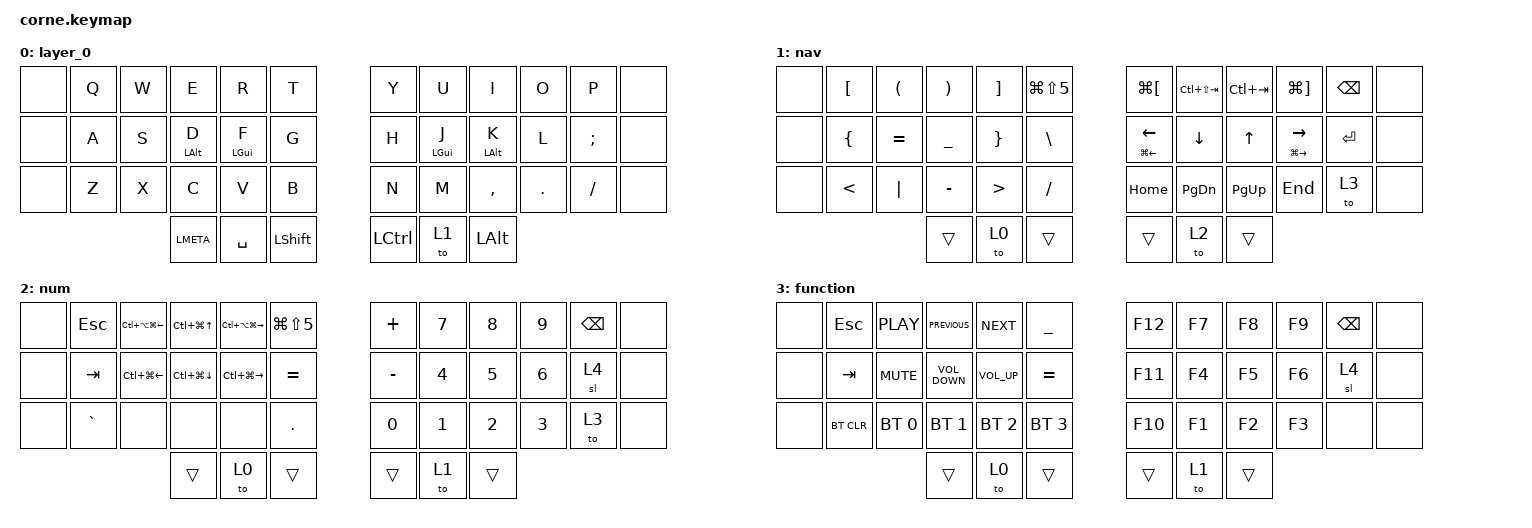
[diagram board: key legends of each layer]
/*
 * Copyright (c) 2020 The ZMK Contributors
 *
 * SPDX-License-Identifier: MIT
 */

#include <behaviors.dtsi>
#include <dt-bindings/zmk/bt.h>
#include <dt-bindings/zmk/keys.h>

/ {
    behaviors {
        hml: hml {
            compatible = "zmk,behavior-hold-tap";
            label = "HML";
            bindings = <&kp>, <&kp>;

            #binding-cells = <2>;
            flavor = "tap-preferred";
            tapping-term-ms = <300>;
            quick-tap-ms = <175>;
            require-prior-idle-ms = <200>;
        };

        hmls: hmls {
            compatible = "zmk,behavior-hold-tap";
            label = "HMLS";
            bindings = <&kp>, <&kp>;

            #binding-cells = <2>;
            flavor = "balanced";
            tapping-term-ms = <250>;
            quick-tap-ms = <175>;
            hold-trigger-key-positions = <6 7 8 9 10 18 19 20 21 22 30 31 32 33 34>;
        };

        hmr: hmr {
            compatible = "zmk,behavior-hold-tap";
            label = "HMR";
            bindings = <&kp>, <&kp>;

            #binding-cells = <2>;
            flavor = "tap-preferred";
            tapping-term-ms = <300>;
            quick-tap-ms = <175>;
            require-prior-idle-ms = <200>;
        };

        hmrs: hmrs {
            compatible = "zmk,behavior-hold-tap";
            label = "HMRS";
            bindings = <&kp>, <&kp>;

            #binding-cells = <2>;
            flavor = "balanced";
            tapping-term-ms = <250>;
            quick-tap-ms = <175>;
            hold-trigger-key-positions = <1 2 3 4 5 13 14 15 16 17 25 26 27 28 29>;
        };

        function_layers: function_layers {
            compatible = "zmk,behavior-hold-tap";
            label = "FUNCTION_LAYERS";
            bindings = <&mo>, <&remove_previous_word>;

            #binding-cells = <2>;
            flavor = "balanced";
            tapping-term-ms = <200>;
            quick-tap-ms = <175>;
            hold-trigger-on-release;
            hold-trigger-key-positions = <0 1 2 3 4 5 6 7 8 9 10>;
        };

        bb: bb {
            compatible = "zmk,behavior-tap-dance";
            label = "BB";
            #binding-cells = <0>;
            bindings = <&kp B>, <&kp B>, <&kp AT_SIGN>;
        };

        b_remove_previous_word: b_remove_previous_word {
            compatible = "zmk,behavior-tap-dance";
            label = "B_REMOVE_PREVIOUS_WORD";
            #binding-cells = <0>;
            bindings =
                <&kp BACKSPACE>,
                <&kp BACKSPACE>,
                <&b_remove_previous_word>;

            tapping-term-ms = <150>;
        };

        layers_tap: layers_tap {
            compatible = "zmk,behavior-hold-tap";
            label = "LAYERS_TAP";
            bindings = <&mo>, <&kp>;

            #binding-cells = <2>;
            flavor = "balanced";
            tapping-term-ms = <200>;
            quick-tap-ms = <175>;
            hold-trigger-on-release;
            hold-trigger-key-positions = <0 1 2 3 4 5 6 7 8 9 10 12 13 14 15 16 17 18 19 20 21 22>;
        };
    };

    combos {
        compatible = "zmk,combos";

        undo {
            bindings = <&kp LG(Z)>;
            key-positions = <25 26>;
        };

        copy {
            bindings = <&kp LG(C)>;
            key-positions = <26 27>;
        };

        paste {
            bindings = <&kp LG(V)>;
            key-positions = <27 28>;
        };

        cut {
            bindings = <&kp LG(X)>;
            key-positions = <26 28>;
        };

        backspace {
            bindings = <&kp BACKSPACE>;
            key-positions = <8 9>;
        };

        enter {
            bindings = <&kp ENTER>;
            key-positions = <21 22>;
        };

        esc {
            bindings = <&kp ESCAPE>;
            key-positions = <19 20>;
        };
    };

    macros {
        remove_previous_word: remove_previous_word {
            compatible = "zmk,behavior-macro";
            #binding-cells = <0>;
            bindings =
                <&macro_press>,
                <&kp LEFT_SHIFT &kp LEFT_ALT>,
                <&macro_tap>,
                <&kp LEFT_ARROW>,
                <&macro_release>,
                <&kp LEFT_SHIFT &kp LEFT_ALT>,
                <&macro_tap>,
                <&kp BACKSPACE>;

            label = "REMOVE_PREVIOUS_WORD";
        };
    };

    keymap {
        compatible = "zmk,keymap";

        layer_0 {
            // -----------------------------------------------------------------------------------------
            // |  TAB |  Q  |  W  |  E  |  R  |  T  |   |  Y  |  U   |  I  |  O  |  P  | BKSP |
            // | CTRL |  A  |  S  |  D  |  F  |  G  |   |  H  |  J   |  K  |  L  |  ;  |  '   |
            // | SHFT |  Z  |  X  |  C  |  V  |  B  |   |  N  |  M   |  ,  |  .  |  /  | ESC  |
            //                    | GUI | LWR | SPC |   | ENT | RSE  | ALT |

            bindings = <
&none  &kp Q  &kp W  &kp E            &kp R            &kp T             &kp Y      &kp U            &kp I            &kp O    &kp P     &none
&none  &kp A  &kp S  &hml LEFT_ALT D  &hml LEFT_GUI F  &kp G             &kp H      &hmr LEFT_GUI J  &hmr LEFT_ALT K  &kp L    &kp SEMI  &none
&none  &kp Z  &kp X  &kp C            &kp V            &kp B             &kp N      &kp M            &kp COMMA        &kp DOT  &kp FSLH  &none
                     &kp LMETA        &kp SPACE        &kp LEFT_SHIFT    &kp LCTRL  &to 1            &kp LEFT_ALT
            >;
        };

        nav {
            bindings = <
&none  &kp LBKT        &kp LEFT_PARENTHESIS  &kp RIGHT_PARENTHESIS  &kp RBKT          &kp LG(LS(N5))    &kp LG(LEFT_BRACKET)      &kp LC(LS(TAB))  &kp LC(TAB)  &kp LG(RIGHT_BRACKET)  &kp BACKSPACE  &none
&none  &kp LEFT_BRACE  &kp EQUAL             &kp UNDERSCORE         &kp RIGHT_BRACE   &kp BSLH          &hml LG(LEFT) LEFT_ARROW  &kp DOWN         &kp UP       &hml LG(RIGHT) RIGHT   &kp ENTER      &none
&none  &kp LESS_THAN   &kp PIPE              &kp MINUS              &kp GREATER_THAN  &kp FSLH          &kp HOME                  &kp PAGE_DOWN    &kp PAGE_UP  &kp END                &to 3          &none
                                             &trans                 &to 0             &trans            &trans                    &to 2            &trans
            >;
        };

        num {
            // -----------------------------------------------------------------------------------------
            // |  TAB |  !  |  @  |  #  |  $  |  %  |   |  ^  |  &  |  *  |  (  |  )  | BKSP |
            // | CTRL |     |     |     |     |     |   |  -  |  =  |  [  |  ]  |  \  |  `   |
            // | SHFT |     |     |     |     |     |   |  _  |  +  |  {  |  }  | "|" |  ~   |
            //                    | GUI |     | SPC |   | ENT |     | ALT |

            bindings = <
&none  &kp ESC    &kp LC(LA(LG(LEFT)))  &kp LC(LG(UP_ARROW))  &kp LC(LA(LG(RIGHT)))  &kp LG(LS(N5))    &kp PLUS   &kp N7  &kp N8  &kp N9  &kp BACKSPACE  &none
&none  &kp TAB    &kp LC(LG(LEFT))      &kp LC(LG(DOWN))      &kp LC(LG(RIGHT))      &kp EQUAL         &kp MINUS  &kp N4  &kp N5  &kp N6  &sl 4          &none
&none  &kp GRAVE  &none                 &none                 &none                  &kp PERIOD        &kp N0     &kp N1  &kp N2  &kp N3  &to 3          &none
                                        &trans                &to 0                  &trans            &trans     &to 1   &trans
            >;
        };

        function {
            // -----------------------------------------------------------------------------------------
            // |  TAB |  1  |  2  |  3  |  4  |  5  |   |  6  |  7  |  8  |  9  |  0  | BKSP |
            // | BTCLR| BT1 | BT2 | BT3 | BT4 | BT5 |   | LFT | DWN |  UP | RGT |     |      |
            // | SHFT |     |     |     |     |     |   |     |     |     |     |     |      |
            //                    | GUI |     | SPC |   | ENT |     | ALT |

            bindings = <
&none  &kp ESCAPE  &kp C_PLAY    &kp C_PREVIOUS     &kp C_NEXT       &kp UNDERSCORE    &kp F12  &kp F7  &kp F8  &kp F9  &kp BSPC  &none
&none  &kp TAB     &kp C_MUTE    &kp C_VOLUME_DOWN  &kp C_VOLUME_UP  &kp EQUAL         &kp F11  &kp F4  &kp F5  &kp F6  &sl 4     &none
&none  &bt BT_CLR  &bt BT_SEL 0  &bt BT_SEL 1       &bt BT_SEL 2     &bt BT_SEL 3      &kp F10  &kp F1  &kp F2  &kp F3  &none     &none
                                 &trans             &to 0            &trans            &trans   &to 1   &trans
            >;
        };
    };

    conditional_layers { compatible = "zmk,conditional-layers"; };
};
